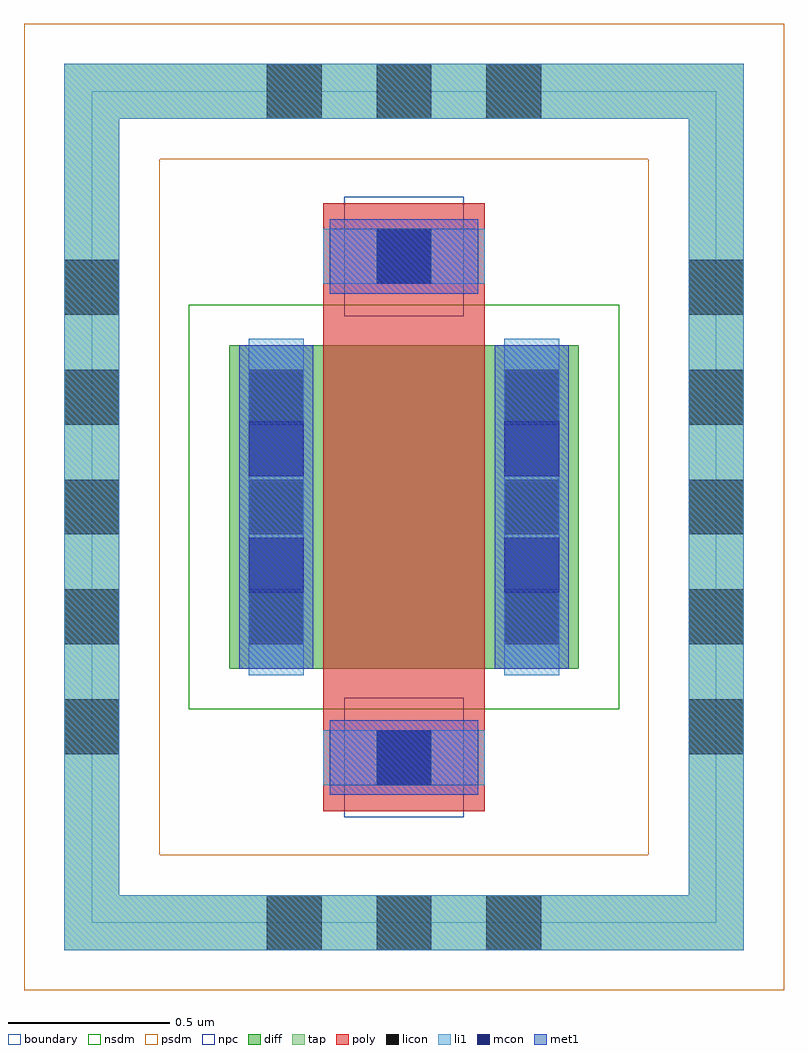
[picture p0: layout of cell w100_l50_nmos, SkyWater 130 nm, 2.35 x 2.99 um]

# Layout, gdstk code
import gdstk
lib = gdstk.Library(unit=1e-6, precision=1e-09)
def R(c, l, rs):  # rectangles x0, y0, x1, y1
    for r in rs: c.add(gdstk.rectangle(r[:2], r[2:], *l))
def A(c, l, x, y, w, h, nx, ny, dx, dy):  # array of equal rectangles
    R(c, l, [(x+i*dx, y+j*dy, x+i*dx+w, y+j*dy+h) for i in range(nx) for j in range(ny)])
diff = (65, 20)
tap = (65, 44)
poly = (66, 20)
licon = (66, 44)
li1 = (67, 20)
mcon = (67, 44)
met1 = (68, 20)
nsdm = (93, 44)
psdm = (94, 20)
npc = (95, 20)
boundary = (235, 4)

sky130_fd_pr__nfet_01v8 = lib.new_cell('sky130_fd_pr__nfet_01v8')

w100_l50_nmos = lib.new_cell('w100_l50_nmos')
R(w100_l50_nmos, diff, [(-0.54,-0.5,0.54,0.5)])
R(w100_l50_nmos, tap, [(-1.05,-1.37,1.05,-1.2), (-1.05,-1.2,-0.88,1.2), (0.88,-1.2,1.05,1.2), (-1.05,1.2,1.05,1.37)])
R(w100_l50_nmos, poly, [(-0.25,-0.94,0.25,0.94)])
A(w100_l50_nmos, licon, -0.425, -1.37, 0.17, 0.17, 3, 2, 0.34, 2.57)
A(w100_l50_nmos, licon, -1.05, -0.765, 0.17, 0.17, 1, 5, 0, 0.34)
A(w100_l50_nmos, licon, 0.88, -0.765, 0.17, 0.17, 1, 5, 0, 0.34)
A(w100_l50_nmos, licon, -0.48, -0.425, 0.17, 0.17, 1, 3, 0, 0.34)
A(w100_l50_nmos, licon, 0.31, -0.425, 0.17, 0.17, 1, 3, 0, 0.34)
R(w100_l50_nmos, licon, [(-0.085,-0.86,0.085,-0.69), (-0.085,0.69,0.085,0.86)])
R(w100_l50_nmos, li1, [(-1.05,-1.37,1.05,-1.2), (-1.05,-1.2,-0.88,1.2), (0.88,-1.2,1.05,1.2), (-0.25,-0.86,0.25,-0.69), (-0.48,-0.52,-0.31,0.52), (0.31,-0.52,0.48,0.52), (-0.25,0.69,0.25,0.86), (-1.05,1.2,1.05,1.37)])
R(w100_l50_nmos, mcon, [(-0.085,-0.86,0.085,-0.69), (-0.48,-0.265,-0.31,-0.095), (0.31,-0.265,0.48,-0.095), (-0.48,0.095,-0.31,0.265), (0.31,0.095,0.48,0.265), (-0.085,0.69,0.085,0.86)])
R(w100_l50_nmos, met1, [(-0.23,-0.89,0.23,-0.66), (-0.51,-0.5,-0.28,0.5), (0.28,-0.5,0.51,0.5), (-0.23,0.66,0.23,0.89)])
R(w100_l50_nmos, nsdm, [(-0.665,-0.625,0.665,0.625)])
R(w100_l50_nmos, psdm, [(-1.175,-1.495,1.175,-1.075), (-1.175,-1.075,-0.755,1.075), (0.755,-1.075,1.175,1.075), (-1.175,1.075,1.175,1.495)])
R(w100_l50_nmos, npc, [(-0.185,-0.96,0.185,-0.59), (-0.185,0.59,0.185,0.96)])
R(w100_l50_nmos, boundary, [(-0.965,-1.285,0.965,1.285)])
w100_l50_nmos.add(gdstk.Reference(sky130_fd_pr__nfet_01v8, (0,0)))

lib.write_gds('w100_l50_nmos.gds')
